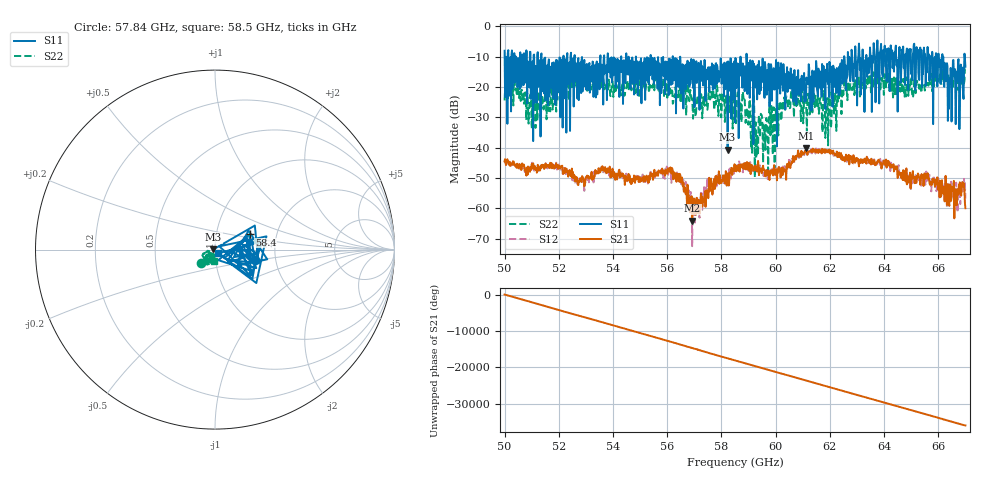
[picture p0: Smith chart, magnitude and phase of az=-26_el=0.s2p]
!Created with skrf (http://scikit-rf.org).
# GHz S RI R 50.0
!freq ReS11 ImS11 ReS21 ImS21 ReS12 ImS12 ReS22 ImS22
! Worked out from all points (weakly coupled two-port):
!   1001 points, 50 GHz to 67 GHz, reference 50 ohm
!   highest |S21| = -40.20 dB at 61.14 GHz (marker M1); lowest = -64.0 dB at 56.92 GHz (marker M2)
!   lowest |S11| = -40.6 dB at 58.23 GHz (marker M3), VSWR 1.02, Z = 49.1 + j0.0696 ohm
!   |S11| at or under -10 dB: 52.59 GHz to 53.53 GHz (946.5 MHz wide, 1.78 % of centre); 56.48 GHz to 58.7 GHz (2.227 GHz wide, 3.87 % of centre); 58.93 GHz to 62.53 GHz (3.599 GHz wide, 5.93 % of centre) (the widest 3 of 65)
!   |S22| runs from -49.8 to -13.4 dB; largest |S21 - S12| = 0.0022
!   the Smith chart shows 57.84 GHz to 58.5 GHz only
!   S11 on the Smith chart (normalised r, x): 57.84 GHz: 1.56, -0.20; 58.4 GHz: 1.45, +0.26; 58.5 GHz: 1.03, -0.04
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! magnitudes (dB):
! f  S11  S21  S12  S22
! 50 GHz  -8.0  -44.5  -43.9  -24.4
! 50.15 GHz  -22.9  -45.6  -45.5  -20.5
! 51.07 GHz  -9.4  -46.9  -46.7  -27.0
! 52.84 GHz  -11.2  -51.3  -51.6  -19.8
! 55.68 GHz  -13.5  -47.5  -48.0  -21.4
! 56.44 GHz  -14.0  -51.2  -50.3  -19.4
! 56.92 GHz  -17.3  -64.0  -72.5  -24.3
! 57.84 GHz  -12.7  -49.8  -49.1  -19.5
! 58.23 GHz  -40.6  -50.2  -49.1  -23.0
! 58.4 GHz  -13.6  -48.9  -47.7  -26.2
! 58.5 GHz  -31.6  -47.7  -47.8  -23.7
! 59.11 GHz  -12.7  -45.7  -45.5  -36.4
! 59.32 GHz  -24.1  -47.9  -45.6  -35.8
! 60.34 GHz  -15.6  -47.4  -46.1  -24.8
! 61.14 GHz  -16.9  -40.2  -41.8  -29.0
! 61.34 GHz  -27.5  -41.5  -41.9  -27.0
! 62 GHz  -12.7  -41.3  -40.9  -23.7
! 62.61 GHz  -16.7  -43.5  -42.9  -19.6
! 64.18 GHz  -11.8  -45.3  -45.1  -17.4
! 66.08 GHz  -18.9  -56.3  -55.6  -15.8
! 66.44 GHz  -18.8  -52.0  -56.2  -16.2
! 67 GHz  -13.3  -59.9  -56.7  -14.2
